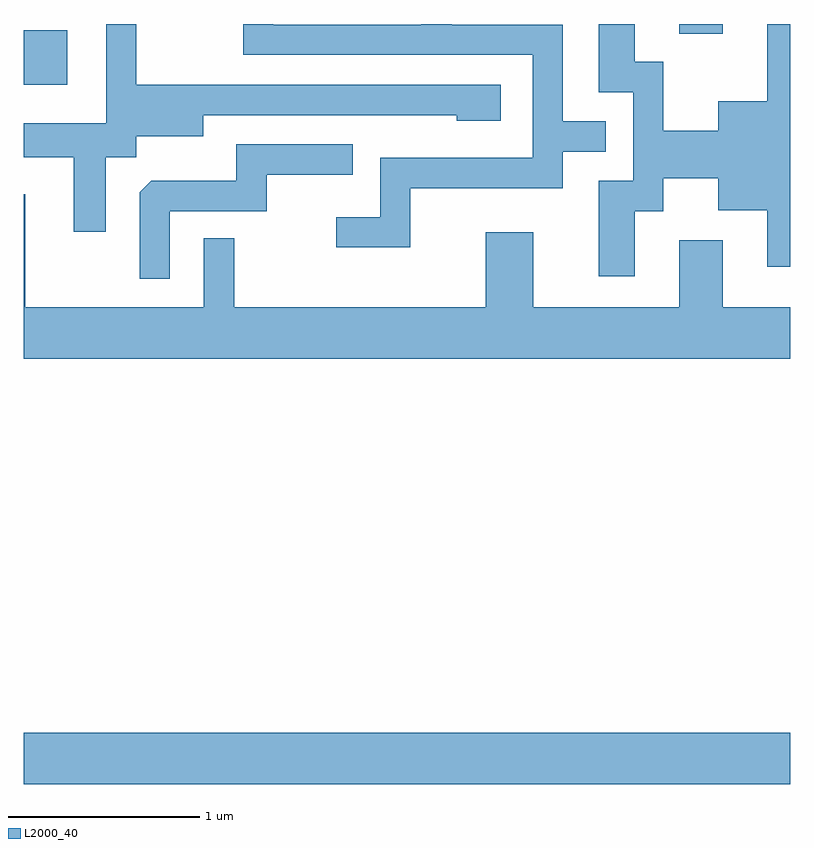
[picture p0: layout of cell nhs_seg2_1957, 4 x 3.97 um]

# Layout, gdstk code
import gdstk
lib = gdstk.Library(unit=1e-6, precision=1e-09)
def R(c, l, rs):  # rectangles x0, y0, x1, y1
    for r in rs: c.add(gdstk.rectangle(r[:2], r[2:], *l))
def P(c, l, *ps):  # polygons
    for p in ps: c.add(gdstk.Polygon(p, *l))
L2000_40 = (2000, 40)

nhs_seg2_1957 = lib.new_cell('nhs_seg2_1957')
R(nhs_seg2_1957, L2000_40, [(241.611,1083.836,245.611,1084.104), (241.611,1087.486,241.839,1087.769), (245.031,1087.751,245.259,1087.802)])
P(nhs_seg2_1957, L2000_40, [(244.799,1086.826),(244.949,1086.826),(244.949,1086.996),(245.236,1086.996),(245.236,1086.831),(245.491,1086.831),(245.491,1086.536),(245.611,1086.536),(245.611,1087.802),(245.491,1087.802),(245.491,1087.399),(245.236,1087.399),(245.236,1087.244),(244.949,1087.244),(244.949,1087.604),(244.799,1087.604),(244.799,1087.802),(244.611,1087.802),(244.611,1087.446),(244.791,1087.446),(244.791,1086.984),(244.611,1086.984),(244.611,1086.486),(244.799,1086.486)],
  [(242.039,1087.106),(242.199,1087.106),(242.199,1087.216),(242.549,1087.216),(242.549,1087.326),(243.871,1087.326),(243.871,1087.296),(244.099,1087.296),(244.099,1087.484),(242.199,1087.484),(242.199,1087.802),(242.041,1087.802),(242.041,1087.284),(241.611,1087.284),(241.611,1087.106),(241.871,1087.106),(241.871,1086.718),(242.039,1086.718)],
  [(243.629,1086.946),(244.424,1086.946),(244.424,1087.136),(244.648,1087.136),(244.648,1087.294),(244.424,1087.294),(244.424,1087.799),(243.844,1087.799),(243.844,1087.802),(243.686,1087.802),(243.686,1087.799),(242.914,1087.799),(242.914,1087.802),(242.756,1087.802),(242.756,1087.641),(244.266,1087.641),(244.266,1087.104),(243.471,1087.104),(243.471,1086.794),(243.243,1086.794),(243.243,1086.636),(243.629,1086.636)],
  [(242.374,1086.826),(242.879,1086.826),(242.879,1087.016),(243.328,1087.016),(243.328,1087.174),(242.721,1087.174),(242.721,1086.984),(242.277,1086.984),(242.216,1086.924),(242.216,1086.473),(242.374,1086.473)],
  [(245.611,1086.324),(245.259,1086.324),(245.259,1086.674),(245.031,1086.674),(245.031,1086.324),(244.269,1086.324),(244.269,1086.714),(244.021,1086.714),(244.021,1086.324),(242.709,1086.324),(242.709,1086.683),(242.551,1086.683),(242.551,1086.324),(241.619,1086.324),(241.619,1086.914),(241.611,1086.914),(241.611,1086.056),(245.611,1086.056)])

lib.write_gds('nhs_seg2_1957.gds')
